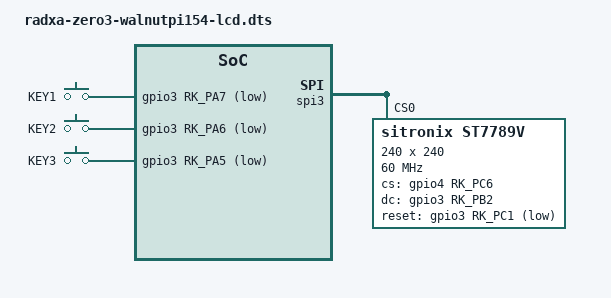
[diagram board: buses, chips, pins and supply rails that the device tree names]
/dts-v1/;
/plugin/;

#include <dt-bindings/gpio/gpio.h>
#include <dt-bindings/pinctrl/rockchip.h>
#include <dt-bindings/interrupt-controller/irq.h>

/ {
	metadata {
		title = "Enable Walnut Pi 1.54inch LCD";
		compatible = "radxa,zero3";
		category = "misc";
		exclusive = "GPIO4_C3", "GPIO4_C2", "GPIO4_C6", "GPIO3_B2", "GPIO3_C1", "GPIO3_A7", "GPIO3_A6", "GPIO3_A5", "spi3";
		description = "Enable Walnut Pi 1.54inch LCD.";
	};
};

&spi3{
	status = "okay";
	pinctrl-names = "default", "high_speed";
	pinctrl-0 = <&spi3m1_cs0 &spi3m1_pins>;
	pinctrl-1 = <&spi3m1_cs0 &spi3m1_pins_hs>;

	st7789v@0 {
		compatible = "sitronix,st7789v";
		reg = <0>;
		spi-max-frequency = <60000000>;
		rotate = <0>;
		fps = <30>;
		buswidth = <4>;
		regwidth = <4>;
		width = <240>;
		height = <240>;
		cs-gpio = <&gpio4 RK_PC6 GPIO_ACTIVE_HIGH>;
		dc-gpios = <&gpio3 RK_PB2 GPIO_ACTIVE_HIGH>;
		reset-gpios = <&gpio3 RK_PC1 GPIO_ACTIVE_LOW>;
		debug = <0>;
    };
};

&{/} {
    buttons_joystick {
        compatible = "gpio-keys";
        pinctrl-names = "default";
        pinctrl-0 = <&buttons_joystick_pins>;

        key1 {
            label = "KEY1";
            gpios = <&gpio3 RK_PA7 GPIO_ACTIVE_LOW>;
        };

        key2 {
            label = "KEY2";
            gpios = <&gpio3 RK_PA6 GPIO_ACTIVE_LOW>;
        };

        key3 {
            label = "KEY3";
            gpios = <&gpio3 RK_PA5 GPIO_ACTIVE_LOW>;
        };
    };
};

&pinctrl {
    buttons_joystick {
        buttons_joystick_pins: buttons-joystick-pins {
            rockchip,pins = 
                <3 RK_PA7 RK_FUNC_GPIO &pcfg_pull_up>,
                <3 RK_PA6 RK_FUNC_GPIO &pcfg_pull_up>,
                <3 RK_PA5 RK_FUNC_GPIO &pcfg_pull_up>;
        };
    };
};
